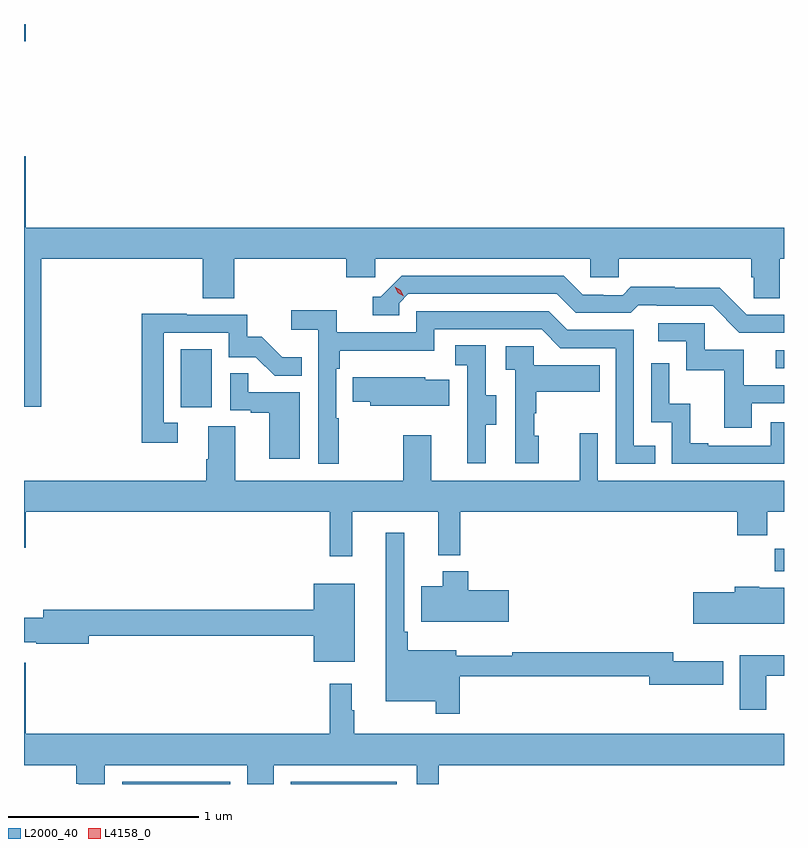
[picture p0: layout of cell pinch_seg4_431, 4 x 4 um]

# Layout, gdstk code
import gdstk
lib = gdstk.Library(unit=1e-6, precision=1e-09)
def R(c, l, rs):  # rectangles x0, y0, x1, y1
    for r in rs: c.add(gdstk.rectangle(r[:2], r[2:], *l))
def P(c, l, *ps):  # polygons
    for p in ps: c.add(gdstk.Polygon(p, *l))
L2000_40 = (2000, 40)
L4158_0 = (4158, 0)

pinch_seg4_431 = lib.new_cell('pinch_seg4_431')
R(pinch_seg4_431, L2000_40, [(932.91,770.08,933.48,770.091), (933.798,770.08,934.356,770.091), (936.346,771.2,936.394,771.319), (933.218,772.062,933.382,772.369), (936.351,772.269,936.394,772.362), (932.394,773.988,932.404,774.08)])
P(pinch_seg4_431, L2000_40, [(932.486,772.844),(933.335,772.844),(933.335,772.636),(933.5,772.636),(933.5,772.844),(934.091,772.844),(934.091,772.746),(934.242,772.746),(934.242,772.844),(935.373,772.844),(935.373,772.746),(935.523,772.746),(935.523,772.844),(936.221,772.844),(936.221,772.746),(936.235,772.746),(936.235,772.636),(936.372,772.636),(936.372,772.844),(936.394,772.844),(936.394,773.008),(932.404,773.008),(932.404,773.383),(932.394,773.383),(932.394,772.065),(932.486,772.065)],
  [(936.394,772.551),(936.198,772.551),(936.056,772.693),(935.82,772.693),(935.82,772.696),(935.587,772.696),(935.545,772.653),(935.442,772.653),(935.442,772.656),(935.335,772.656),(935.236,772.755),(934.383,772.755),(934.272,772.644),(934.229,772.644),(934.229,772.548),(934.368,772.548),(934.368,772.611),(934.416,772.659),(935.199,772.659),(935.298,772.56),(935.587,772.56),(935.626,772.599),(935.725,772.599),(935.725,772.596),(936.018,772.596),(936.159,772.455),(936.394,772.455)],
  [(934.051,772.004),(934.038,772.004),(934.038,772.265),(934.055,772.265),(934.055,772.361),(934.554,772.361),(934.554,772.473),(935.118,772.473),(935.217,772.374),(935.508,772.374),(935.508,771.765),(935.717,771.765),(935.717,771.861),(935.604,771.861),(935.604,772.47),(935.254,772.47),(935.155,772.569),(934.458,772.569),(934.458,772.458),(934.04,772.458),(934.04,772.574),(933.801,772.574),(933.801,772.472),(933.942,772.472),(933.942,771.765),(934.051,771.765)],
  [(933.202,771.981),(933.129,771.981),(933.129,772.455),(933.471,772.455),(933.471,772.326),(933.615,772.326),(933.713,772.228),(933.857,772.228),(933.857,772.327),(933.753,772.327),(933.646,772.434),(933.57,772.434),(933.57,772.551),(933.251,772.551),(933.251,772.556),(933.013,772.556),(933.013,771.876),(933.202,771.876)],
  [(936.223,772.083),(936.394,772.083),(936.394,772.179),(936.181,772.179),(936.181,772.365),(935.976,772.365),(935.976,772.506),(935.733,772.506),(935.733,772.41),(935.88,772.41),(935.88,772.257),(936.079,772.257),(936.079,771.954),(936.223,771.954)],
  [(934.825,771.97),(934.879,771.97),(934.879,772.125),(934.824,772.125),(934.824,772.388),(934.665,772.388),(934.665,772.285),(934.728,772.285),(934.728,771.981),(934.727,771.981),(934.727,771.768),(934.825,771.768)],
  [(935.104,771.912),(935.079,771.912),(935.079,772.031),(935.089,772.031),(935.089,772.145),(935.423,772.145),(935.423,772.285),(935.076,772.285),(935.076,772.383),(934.929,772.383),(934.929,772.259),(934.98,772.259),(934.98,771.768),(935.104,771.768)],
  [(936.394,771.984),(936.324,771.984),(936.324,771.861),(935.995,771.861),(935.995,771.874),(935.9,771.874),(935.9,772.082),(935.79,772.082),(935.79,772.294),(935.694,772.294),(935.694,771.984),(935.802,771.984),(935.802,771.765),(936.394,771.765)],
  [(933.844,772.143),(933.575,772.143),(933.575,772.241),(933.48,772.241),(933.48,772.047),(933.587,772.047),(933.587,772.035),(933.686,772.035),(933.686,771.792),(933.844,771.792)],
  [(934.631,772.207),(934.506,772.207),(934.506,772.222),(934.234,772.222),(934.234,772.221),(934.123,772.221),(934.123,772.093),(934.217,772.093),(934.217,772.07),(934.631,772.07)],
  [(934.121,771.512),(934.574,771.512),(934.574,771.284),(934.691,771.284),(934.691,771.512),(936.149,771.512),(936.149,771.388),(936.305,771.388),(936.305,771.512),(936.394,771.512),(936.394,771.676),(935.415,771.676),(935.415,771.925),(935.318,771.925),(935.318,771.676),(934.537,771.676),(934.537,771.916),(934.39,771.916),(934.39,771.676),(933.505,771.676),(933.505,771.962),(933.365,771.962),(933.365,771.788),(933.353,771.788),(933.353,771.676),(932.394,771.676),(932.394,771.324),(932.404,771.324),(932.404,771.512),(934.003,771.512),(934.003,771.279),(934.121,771.279)],
  [(934.688,770.646),(935.684,770.646),(935.684,770.603),(936.073,770.603),(936.073,770.725),(935.812,770.725),(935.812,770.774),(934.965,770.774),(934.965,770.755),(934.669,770.755),(934.669,770.785),(934.415,770.785),(934.415,770.881),(934.395,770.881),(934.395,771.403),(934.298,771.403),(934.298,770.516),(934.56,770.516),(934.56,770.451),(934.688,770.451)],
  [(934.945,771.099),(934.733,771.099),(934.733,771.199),(934.598,771.199),(934.598,771.121),(934.484,771.121),(934.484,770.933),(934.945,770.933)],
  [(934.135,771.133),(933.92,771.133),(933.92,770.996),(932.495,770.996),(932.495,770.955),(932.394,770.955),(932.394,770.825),(932.458,770.825),(932.458,770.818),(932.734,770.818),(932.734,770.86),(933.92,770.86),(933.92,770.723),(934.135,770.723)],
  [(936.394,771.112),(936.264,771.112),(936.264,771.118),(936.134,771.118),(936.134,771.09),(935.916,771.09),(935.916,770.924),(936.394,770.924)],
  [(936.301,770.649),(936.394,770.649),(936.394,770.758),(936.161,770.758),(936.161,770.472),(936.301,770.472)],
  [(932.82,770.18),(933.57,770.18),(933.57,770.08),(933.709,770.08),(933.709,770.18),(934.461,770.18),(934.461,770.08),(934.577,770.08),(934.577,770.18),(936.394,770.18),(936.394,770.344),(934.132,770.344),(934.132,770.468),(934.12,770.468),(934.12,770.608),(934.003,770.608),(934.003,770.344),(932.404,770.344),(932.404,770.719),(932.394,770.719),(932.394,770.18),(932.669,770.18),(932.669,770.082),(932.683,770.082),(932.683,770.08),(932.82,770.08)])
P(pinch_seg4_431, L4158_0, [(934.393,772.646),(934.362,772.665),(934.345,772.697),(934.345,772.697),(934.346,772.697),(934.377,772.678),(934.393,772.646),(934.393,772.646)])

lib.write_gds('pinch_seg4_431.gds')
